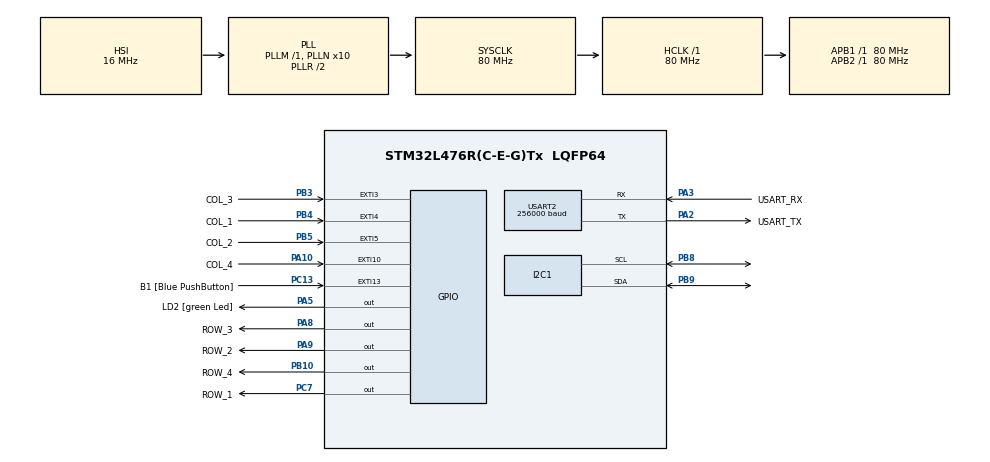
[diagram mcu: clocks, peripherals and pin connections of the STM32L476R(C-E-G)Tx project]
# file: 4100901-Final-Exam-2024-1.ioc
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I2C1.Timing=0x10909CEC
Mcu.Family=STM32L4
Mcu.Name=STM32L476R(C-E-G)Tx
Mcu.Package=LQFP64
NVIC.EXTI15_10_IRQn=true\:0\:0\:false\:false\:true\:true\:true\:true
NVIC.EXTI3_IRQn=true\:0\:0\:false\:false\:true\:true\:true\:true
NVIC.EXTI4_IRQn=true\:0\:0\:false\:false\:true\:true\:true\:true
NVIC.EXTI9_5_IRQn=true\:0\:0\:false\:false\:true\:true\:true\:true
NVIC.PriorityGroup=NVIC_PRIORITYGROUP_4
NVIC.USART2_IRQn=true\:0\:0\:false\:false\:true\:true\:true\:true
PA10.GPIO_Label=COL_4
PA10.GPIO_ModeDefaultEXTI=GPIO_MODE_IT_RISING
PA10.GPIO_PuPd=GPIO_PULLDOWN
PA10.Signal=GPXTI10
PA13\ (JTMS-SWDIO).GPIO_Label=TMS
PA13\ (JTMS-SWDIO).Mode=Serial_Wire
PA13\ (JTMS-SWDIO).Signal=SYS_JTMS-SWDIO
PA14\ (JTCK-SWCLK).GPIO_Label=TCK
PA14\ (JTCK-SWCLK).Mode=Serial_Wire
PA14\ (JTCK-SWCLK).Signal=SYS_JTCK-SWCLK
PA2.GPIO_Label=USART_TX
PA2.GPIO_Mode=GPIO_MODE_AF_PP
PA2.GPIO_PuPd=GPIO_NOPULL
PA2.GPIO_Speed=GPIO_SPEED_FREQ_VERY_HIGH
PA2.Mode=Asynchronous
PA2.Signal=USART2_TX
PA3.GPIO_Label=USART_RX
PA3.GPIO_Mode=GPIO_MODE_AF_PP
PA3.GPIO_PuPd=GPIO_NOPULL
PA3.GPIO_Speed=GPIO_SPEED_FREQ_VERY_HIGH
PA3.Mode=Asynchronous
PA3.Signal=USART2_RX
PA5.GPIO_Label=LD2 [green Led]
PA5.GPIO_ModeDefaultOutputPP=GPIO_MODE_OUTPUT_PP
PA5.GPIO_PuPd=GPIO_NOPULL
PA5.GPIO_Speed=GPIO_SPEED_FREQ_LOW
PA5.Signal=GPIO_Output
PA8.GPIO_Label=ROW_3
PA8.GPIO_Speed=GPIO_SPEED_FREQ_VERY_HIGH
PA8.PinState=GPIO_PIN_SET
PA8.Signal=GPIO_Output
PA9.GPIO_Label=ROW_2
PA9.GPIO_Speed=GPIO_SPEED_FREQ_VERY_HIGH
PA9.PinState=GPIO_PIN_SET
PA9.Signal=GPIO_Output
PB10.GPIO_Label=ROW_4
PB10.GPIO_Speed=GPIO_SPEED_FREQ_VERY_HIGH
PB10.PinState=GPIO_PIN_SET
PB10.Signal=GPIO_Output
PB3\ (JTDO-TRACESWO).GPIO_Label=COL_3
PB3\ (JTDO-TRACESWO).GPIO_ModeDefaultEXTI=GPIO_MODE_IT_RISING
PB3\ (JTDO-TRACESWO).GPIO_PuPd=GPIO_PULLDOWN
PB3\ (JTDO-TRACESWO).Signal=GPXTI3
PB4\ (NJTRST).GPIO_Label=COL_1
PB4\ (NJTRST).GPIO_ModeDefaultEXTI=GPIO_MODE_IT_RISING
PB4\ (NJTRST).GPIO_PuPd=GPIO_PULLDOWN
PB4\ (NJTRST).Signal=GPXTI4
PB5.GPIO_Label=COL_2
PB5.GPIO_ModeDefaultEXTI=GPIO_MODE_IT_RISING
PB5.GPIO_PuPd=GPIO_PULLDOWN
PB5.Signal=GPXTI5
PB8.Mode=I2C
PB8.Signal=I2C1_SCL
PB9.Mode=I2C
PB9.Signal=I2C1_SDA
PC13.GPIO_Label=B1 [Blue PushButton]
PC13.GPIO_ModeDefaultEXTI=GPIO_MODE_IT_FALLING
PC13.GPIO_PuPd=GPIO_NOPULL
PC13.Signal=GPXTI13
PC14-OSC32_IN\ (PC14).Mode=LSE-External-Oscillator
PC14-OSC32_IN\ (PC14).Signal=RCC_OSC32_IN
PC15-OSC32_OUT\ (PC15).Mode=LSE-External-Oscillator
PC15-OSC32_OUT\ (PC15).Signal=RCC_OSC32_OUT
PC7.GPIO_Label=ROW_1
PC7.GPIO_Speed=GPIO_SPEED_FREQ_VERY_HIGH
PC7.PinState=GPIO_PIN_SET
PC7.Signal=GPIO_Output
PH0-OSC_IN\ (PH0).Signal=RCC_OSC_IN
PH1-OSC_OUT\ (PH1).Signal=RCC_OSC_OUT
ProjectManager.HeapSize=0x200
ProjectManager.StackSize=0x400
ProjectManager.TargetToolchain=STM32CubeIDE
RCC.ADCFreq_Value=64000000
RCC.AHBFreq_Value=80000000
RCC.APB1Freq_Value=80000000
RCC.APB1TimFreq_Value=80000000
RCC.APB2Freq_Value=80000000
RCC.APB2TimFreq_Value=80000000
RCC.CortexFreq_Value=80000000
RCC.HCLKFreq_Value=80000000
RCC.HSE_VALUE=8000000
RCC.HSI_VALUE=16000000
RCC.MSI_VALUE=4000000
RCC.PLLN=10
RCC.PLLSourceVirtual=RCC_PLLSOURCE_HSI
RCC.PREFETCH_ENABLE=1
RCC.SYSCLKFreq_VALUE=80000000
RCC.SYSCLKSource=RCC_SYSCLKSOURCE_PLLCLK
RCC.USBFreq_Value=64000000
RCC.VCOOutputFreq_Value=160000000
USART2.BaudRate=256000
USART2.VirtualMode-Asynchronous=VM_ASYNC
board=NUCLEO-L476RG

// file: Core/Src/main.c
/* USER CODE BEGIN Header */
/**
  ******************************************************************************
  * @file           : main.c
  * @brief          : Main program body
  ******************************************************************************
  * @attention
  *
  * Copyright (c) 2024 STMicroelectronics.
  * All rights reserved.
  *
  * This software is licensed under terms that can be found in the LICENSE file
  * in the root directory of this software component.
  * If no LICENSE file comes with this software, it is provided AS-IS.
  *
  ******************************************************************************
  */
/* USER CODE END Header */
#include "main.h"

/* USER CODE BEGIN Includes */
#include <stdio.h>

#include "ssd1306.h"
#include "ssd1306_fonts.h"

#include "ring_buffer.h"
#include "keypad.h"
/* USER CODE END Includes */

I2C_HandleTypeDef hi2c1;

UART_HandleTypeDef huart2;

/* USER CODE BEGIN PV */
#define KEYPAD_RB_LEN 4
uint8_t keypad_data = 0xFF;
uint8_t keypad_buffer[KEYPAD_RB_LEN];
ring_buffer_t keypad_rb;

uint8_t key_pressed;
uint8_t sume;
uint8_t last_digit;
uint8_t last_digit_2;
uint8_t second_last_digit;
uint8_t second_last_digit2;
uint8_t byte;

#define USART2_RB_LEN 6
uint8_t usart2_data = 0xFF;
uint8_t usart2_buffer[USART2_RB_LEN];
ring_buffer_t usart2_rb;
/* USER CODE END PV */

void SystemClock_Config(void);
static void MX_GPIO_Init(void);
static void MX_USART2_UART_Init(void);
static void MX_I2C1_Init(void);

/* USER CODE BEGIN 0 */
int _write(int file, char *ptr, int len)
{
  HAL_UART_Transmit(&huart2, (uint8_t *)ptr, len, 10);
  return len;
}

void HAL_UART_RxCpltCallback(UART_HandleTypeDef *huart)
{
	/* Data received in USART2 */
	if (huart->Instance == USART2) {
		if (usart2_data >= '0' && usart2_data <= '9') {
			ring_buffer_write(&usart2_rb, usart2_data);
			if (ring_buffer_is_full(&keypad_rb) != 0) {

			}
		}
		HAL_UART_Receive_IT(&huart2, &usart2_data, 1);
	}
}

void HAL_GPIO_EXTI_Callback(uint16_t GPIO_Pin)
{
	if (GPIO_Pin == B1_Pin) {
		sume = 1;
	}
	key_pressed = keypad_scan(GPIO_Pin);

	if (key_pressed != 0xFF) {
	ssd1306_Fill(Black);
	ssd1306_SetCursor(10, 20);
	ssd1306_WriteString(&key_pressed, Font_7x10, White);
	ssd1306_UpdateScreen();
//		ring_buffer_write(&keypad_rb, keypad_data);
//		if (ring_buffer_is_full(&keypad_rb) != 0) {
//
//		}
	}
}
/* USER CODE END 0 */

int main(void)
{

  /* MCU Configuration--------------------------------------------------------*/

  /* Reset of all peripherals, Initializes the Flash interface and the Systick. */
  HAL_Init();

  /* Configure the system clock */
  SystemClock_Config();

  /* Initialize all configured peripherals */
  MX_GPIO_Init();
  MX_USART2_UART_Init();
  MX_I2C1_Init();
  /* USER CODE BEGIN 2 */
  ssd1306_Init();
  ssd1306_Fill(Black);
  ssd1306_SetCursor(20, 20);
  ssd1306_WriteString("Welcome!", Font_7x10, White);
  ssd1306_UpdateScreen();

  //inicializamos los bufer
  ring_buffer_init(&keypad_rb, keypad_buffer, KEYPAD_RB_LEN);
  ring_buffer_init(&usart2_rb, usart2_buffer, USART2_RB_LEN);

  HAL_UART_Receive_IT(&huart2, &usart2_data, 1);
  /* USER CODE END 2 */

  /* Infinite loop */
  /* USER CODE BEGIN WHILE */
  printf("Starting\r\n");
  while (1)
  {
    /* USER CODE END WHILE */

    /* USER CODE BEGIN 3 */
	  if (key_pressed != 0xFF){
	  			if(key_pressed = '*'){
	  				ring_buffer_reset(&keypad_rb);
	  				}
	  			if(key_pressed = '#'){
	  				ring_buffer_reset(&usart2_rb);
	  			}
	  			else {
	  				if(ring_buffer_is_full(&keypad_rb) == 0 ){
	  					ring_buffer_write(&keypad_rb, key_pressed);
	  				}
	  				else{
	  					ssd1306_Fill(Black);
	  					ssd1306_SetCursor(10, 20);
	  					ssd1306_WriteString("bufer lleno, oprima el boton", Font_7x10, White);
	  					ssd1306_UpdateScreen();
	  				}
	  			}
	  			key_pressed = 0xFF;
	  		}
	  if (ring_buffer_read(&usart2_rb, &byte) != 0) {
		  ssd1306_Fill(Black);
		  ssd1306_SetCursor(10, 20);
		  ssd1306_WriteString(&byte, Font_7x10, White);
		  ssd1306_UpdateScreen();

	  	}

	  if(sume == 1){
		  uint8_t sum_buffer_keypad = ring_buffer_sum(&keypad_rb);
		  uint8_t sum_buffer_usart = ring_buffer_sum(&usart2_rb);
		  uint8_t sum_total = sum_buffer_keypad + sum_buffer_usart;
		  ssd1306_Fill(Black);
		  ssd1306_SetCursor(10, 20);
		  ssd1306_WriteString(&sum_total , Font_7x10, White);
		  ssd1306_UpdateScreen();

	  }

  }
  /* USER CODE END 3 */
}

void SystemClock_Config(void)
{
  RCC_OscInitTypeDef RCC_OscInitStruct = {0};
  RCC_ClkInitTypeDef RCC_ClkInitStruct = {0};

  /** Configure the main internal regulator output voltage
  */
  if (HAL_PWREx_ControlVoltageScaling(PWR_REGULATOR_VOLTAGE_SCALE1) != HAL_OK)
  {
    Error_Handler();
  }

  /** Initializes the RCC Oscillators according to the specified parameters
  * in the RCC_OscInitTypeDef structure.
  */
  RCC_OscInitStruct.OscillatorType = RCC_OSCILLATORTYPE_HSI;
  RCC_OscInitStruct.HSIState = RCC_HSI_ON;
  RCC_OscInitStruct.HSICalibrationValue = RCC_HSICALIBRATION_DEFAULT;
  RCC_OscInitStruct.PLL.PLLState = RCC_PLL_ON;
  RCC_OscInitStruct.PLL.PLLSource = RCC_PLLSOURCE_HSI;
  RCC_OscInitStruct.PLL.PLLM = 1;
  RCC_OscInitStruct.PLL.PLLN = 10;
  RCC_OscInitStruct.PLL.PLLP = RCC_PLLP_DIV7;
  RCC_OscInitStruct.PLL.PLLQ = RCC_PLLQ_DIV2;
  RCC_OscInitStruct.PLL.PLLR = RCC_PLLR_DIV2;
  if (HAL_RCC_OscConfig(&RCC_OscInitStruct) != HAL_OK)
  {
    Error_Handler();
  }

  /** Initializes the CPU, AHB and APB buses clocks
  */
  RCC_ClkInitStruct.ClockType = RCC_CLOCKTYPE_HCLK|RCC_CLOCKTYPE_SYSCLK
                              |RCC_CLOCKTYPE_PCLK1|RCC_CLOCKTYPE_PCLK2;
  RCC_ClkInitStruct.SYSCLKSource = RCC_SYSCLKSOURCE_PLLCLK;
  RCC_ClkInitStruct.AHBCLKDivider = RCC_SYSCLK_DIV1;
  RCC_ClkInitStruct.APB1CLKDivider = RCC_HCLK_DIV1;
  RCC_ClkInitStruct.APB2CLKDivider = RCC_HCLK_DIV1;

  if (HAL_RCC_ClockConfig(&RCC_ClkInitStruct, FLASH_LATENCY_4) != HAL_OK)
  {
    Error_Handler();
  }
}

static void MX_I2C1_Init(void)
{

  hi2c1.Instance = I2C1;
  hi2c1.Init.Timing = 0x10909CEC;
  hi2c1.Init.OwnAddress1 = 0;
  hi2c1.Init.AddressingMode = I2C_ADDRESSINGMODE_7BIT;
  hi2c1.Init.DualAddressMode = I2C_DUALADDRESS_DISABLE;
  hi2c1.Init.OwnAddress2 = 0;
  hi2c1.Init.OwnAddress2Masks = I2C_OA2_NOMASK;
  hi2c1.Init.GeneralCallMode = I2C_GENERALCALL_DISABLE;
  hi2c1.Init.NoStretchMode = I2C_NOSTRETCH_DISABLE;
  if (HAL_I2C_Init(&hi2c1) != HAL_OK)
  {
    Error_Handler();
  }

  /** Configure Analogue filter
  */
  if (HAL_I2CEx_ConfigAnalogFilter(&hi2c1, I2C_ANALOGFILTER_ENABLE) != HAL_OK)
  {
    Error_Handler();
  }

  /** Configure Digital filter
  */
  if (HAL_I2CEx_ConfigDigitalFilter(&hi2c1, 0) != HAL_OK)
  {
    Error_Handler();
  }

}

static void MX_USART2_UART_Init(void)
{

  huart2.Instance = USART2;
  huart2.Init.BaudRate = 256000;
  huart2.Init.WordLength = UART_WORDLENGTH_8B;
  huart2.Init.StopBits = UART_STOPBITS_1;
  huart2.Init.Parity = UART_PARITY_NONE;
  huart2.Init.Mode = UART_MODE_TX_RX;
  huart2.Init.HwFlowCtl = UART_HWCONTROL_NONE;
  huart2.Init.OverSampling = UART_OVERSAMPLING_16;
  huart2.Init.OneBitSampling = UART_ONE_BIT_SAMPLE_DISABLE;
  huart2.AdvancedInit.AdvFeatureInit = UART_ADVFEATURE_NO_INIT;
  if (HAL_UART_Init(&huart2) != HAL_OK)
  {
    Error_Handler();
  }

}

static void MX_GPIO_Init(void)
{
  GPIO_InitTypeDef GPIO_InitStruct = {0};

  /* GPIO Ports Clock Enable */
  __HAL_RCC_GPIOC_CLK_ENABLE();
  __HAL_RCC_GPIOH_CLK_ENABLE();
  __HAL_RCC_GPIOA_CLK_ENABLE();
  __HAL_RCC_GPIOB_CLK_ENABLE();

  /*Configure GPIO pin Output Level */
  HAL_GPIO_WritePin(LD2_GPIO_Port, LD2_Pin, GPIO_PIN_RESET);

  /*Configure GPIO pin Output Level */
  HAL_GPIO_WritePin(ROW_4_GPIO_Port, ROW_4_Pin, GPIO_PIN_SET);

  /*Configure GPIO pin Output Level */
  HAL_GPIO_WritePin(ROW_1_GPIO_Port, ROW_1_Pin, GPIO_PIN_SET);

  /*Configure GPIO pin Output Level */
  HAL_GPIO_WritePin(GPIOA, ROW_3_Pin|ROW_2_Pin, GPIO_PIN_SET);

  /*Configure GPIO pin : B1_Pin */
  GPIO_InitStruct.Pin = B1_Pin;
  GPIO_InitStruct.Mode = GPIO_MODE_IT_FALLING;
  GPIO_InitStruct.Pull = GPIO_NOPULL;
  HAL_GPIO_Init(B1_GPIO_Port, &GPIO_InitStruct);

  /*Configure GPIO pin : LD2_Pin */
  GPIO_InitStruct.Pin = LD2_Pin;
  GPIO_InitStruct.Mode = GPIO_MODE_OUTPUT_PP;
  GPIO_InitStruct.Pull = GPIO_NOPULL;
  GPIO_InitStruct.Speed = GPIO_SPEED_FREQ_LOW;
  HAL_GPIO_Init(LD2_GPIO_Port, &GPIO_InitStruct);

  /*Configure GPIO pin : ROW_4_Pin */
  GPIO_InitStruct.Pin = ROW_4_Pin;
  GPIO_InitStruct.Mode = GPIO_MODE_OUTPUT_PP;
  GPIO_InitStruct.Pull = GPIO_NOPULL;
  GPIO_InitStruct.Speed = GPIO_SPEED_FREQ_VERY_HIGH;
  HAL_GPIO_Init(ROW_4_GPIO_Port, &GPIO_InitStruct);

  /*Configure GPIO pin : ROW_1_Pin */
  GPIO_InitStruct.Pin = ROW_1_Pin;
  GPIO_InitStruct.Mode = GPIO_MODE_OUTPUT_PP;
  GPIO_InitStruct.Pull = GPIO_NOPULL;
  GPIO_InitStruct.Speed = GPIO_SPEED_FREQ_VERY_HIGH;
  HAL_GPIO_Init(ROW_1_GPIO_Port, &GPIO_InitStruct);

  /*Configure GPIO pins : ROW_3_Pin ROW_2_Pin */
  GPIO_InitStruct.Pin = ROW_3_Pin|ROW_2_Pin;
  GPIO_InitStruct.Mode = GPIO_MODE_OUTPUT_PP;
  GPIO_InitStruct.Pull = GPIO_NOPULL;
  GPIO_InitStruct.Speed = GPIO_SPEED_FREQ_VERY_HIGH;
  HAL_GPIO_Init(GPIOA, &GPIO_InitStruct);

  /*Configure GPIO pin : COL_4_Pin */
  GPIO_InitStruct.Pin = COL_4_Pin;
  GPIO_InitStruct.Mode = GPIO_MODE_IT_RISING;
  GPIO_InitStruct.Pull = GPIO_PULLDOWN;
  HAL_GPIO_Init(COL_4_GPIO_Port, &GPIO_InitStruct);

  /*Configure GPIO pins : COL_3_Pin COL_1_Pin COL_2_Pin */
  GPIO_InitStruct.Pin = COL_3_Pin|COL_1_Pin|COL_2_Pin;
  GPIO_InitStruct.Mode = GPIO_MODE_IT_RISING;
  GPIO_InitStruct.Pull = GPIO_PULLDOWN;
  HAL_GPIO_Init(GPIOB, &GPIO_InitStruct);

  /* EXTI interrupt init*/
  HAL_NVIC_SetPriority(EXTI3_IRQn, 0, 0);
  HAL_NVIC_EnableIRQ(EXTI3_IRQn);

  HAL_NVIC_SetPriority(EXTI4_IRQn, 0, 0);
  HAL_NVIC_EnableIRQ(EXTI4_IRQn);

  HAL_NVIC_SetPriority(EXTI9_5_IRQn, 0, 0);
  HAL_NVIC_EnableIRQ(EXTI9_5_IRQn);

  HAL_NVIC_SetPriority(EXTI15_10_IRQn, 0, 0);
  HAL_NVIC_EnableIRQ(EXTI15_10_IRQn);

}

void Error_Handler(void)
{
  __disable_irq();
  while (1)
  {
  }
}
